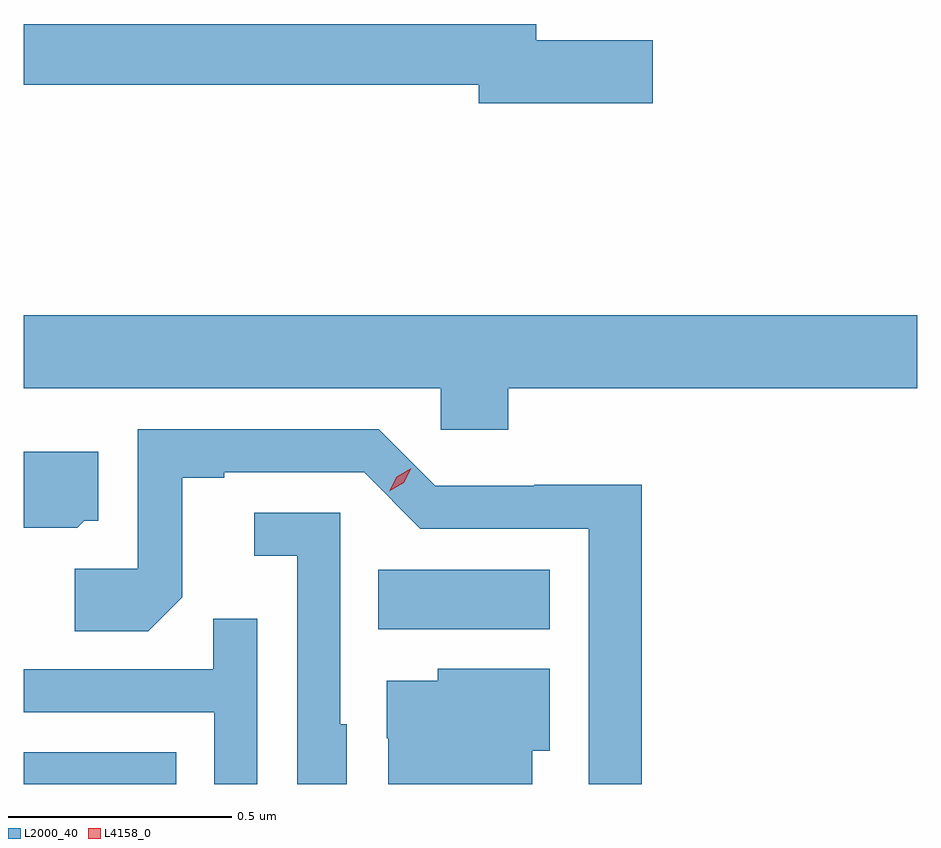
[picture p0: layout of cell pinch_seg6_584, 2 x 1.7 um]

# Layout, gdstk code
import gdstk
lib = gdstk.Library(unit=1e-6, precision=1e-09)
def R(c, l, rs):  # rectangles x0, y0, x1, y1
    for r in rs: c.add(gdstk.rectangle(r[:2], r[2:], *l))
def P(c, l, *ps):  # polygons
    for p in ps: c.add(gdstk.Polygon(p, *l))
L2000_40 = (2000, 40)
L4158_0 = (4158, 0)

pinch_seg6_584 = lib.new_cell('pinch_seg6_584')
R(pinch_seg6_584, L2000_40, [(600.999,965.098,601.34,965.169), (601.792,965.444,602.176,965.578)])
P(pinch_seg6_584, L2000_40, [(602.407,966.764),(602.146,966.764),(602.146,966.8),(600.999,966.8),(600.999,966.664),(602.018,966.664),(602.018,966.622),(602.407,966.622)],
  [(602.084,965.984),(602.999,965.984),(602.999,966.148),(600.999,966.148),(600.999,965.984),(601.932,965.984),(601.932,965.891),(602.084,965.891)],
  [(602.383,965.768),(602.142,965.768),(602.142,965.766),(601.92,965.766),(601.794,965.892),(601.254,965.892),(601.254,965.58),(601.113,965.58),(601.113,965.44),(601.277,965.44),(601.353,965.516),(601.353,965.784),(601.447,965.784),(601.447,965.796),(601.761,965.796),(601.887,965.67),(602.264,965.67),(602.264,965.098),(602.383,965.098)],
  [(601.134,965.688),(601.165,965.688),(601.165,965.842),(600.999,965.842),(600.999,965.672),(601.118,965.672)],
  [(601.722,965.232),(601.707,965.232),(601.707,965.706),(601.515,965.706),(601.515,965.609),(601.611,965.609),(601.611,965.098),(601.722,965.098)],
  [(601.521,965.468),(601.423,965.468),(601.423,965.355),(600.999,965.355),(600.999,965.259),(601.425,965.259),(601.425,965.098),(601.521,965.098)],
  [(602.137,965.172),(602.176,965.172),(602.176,965.356),(601.926,965.356),(601.926,965.329),(601.811,965.329),(601.811,965.2),(601.815,965.2),(601.815,965.098),(602.137,965.098)])
P(pinch_seg6_584, L4158_0, [(601.817,965.754),(601.817,965.754),(601.834,965.786),(601.866,965.805),(601.866,965.805),(601.866,965.805),(601.849,965.773),(601.817,965.754)])

lib.write_gds('pinch_seg6_584.gds')
